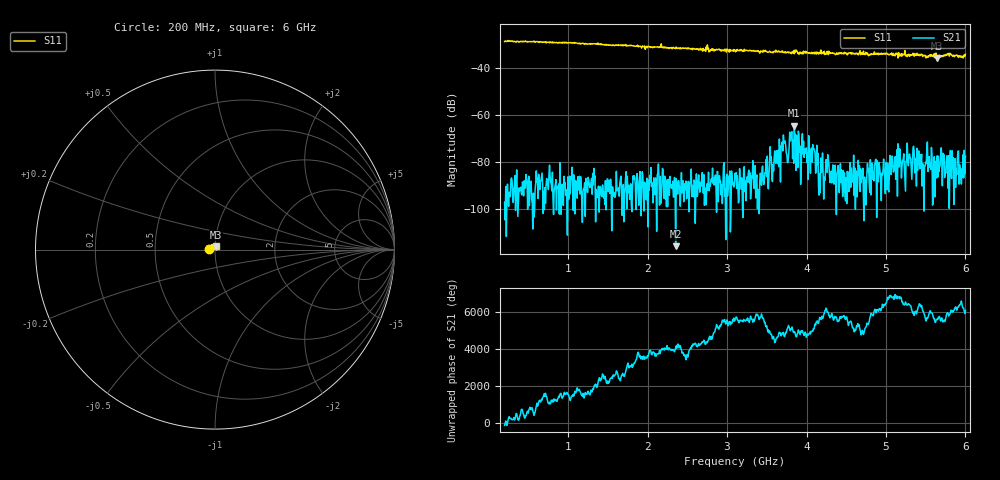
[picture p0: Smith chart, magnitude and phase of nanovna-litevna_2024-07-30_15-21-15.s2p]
! NanoVNA-App by OneOfEleven et al v1.1.209 (+OD15)
! Date: 2024-07-30 15:21:18
! Start: 200MHz Stop: 6GHz Points: 801
! S-Parameter data: F S11 S21 S12 S22
# Hz S RI R 50
!  Frequency  S11_Real  S11_Imag  S21_Real  S21_Imag  S12_Real  S12_Imag  S22_Real  S22_Imag
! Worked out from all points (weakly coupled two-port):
!   801 points, 200 MHz to 6 GHz, reference 50 ohm
!   highest |S21| = -64.59 dB at 3.847 GHz (marker M1); lowest = -115.9 dB at 2.353 GHz (marker M2)
!   lowest |S11| = -35.9 dB at 5.645 GHz (marker M3), VSWR 1.03, Z = 50.7 + j1.47 ohm
!   |S11| at or under -10 dB: start of sweep to end of sweep
!   S12 and S22 are empty: the file has one direction only
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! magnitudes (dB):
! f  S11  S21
! 200 MHz  -28.8  -97.2
! 1.171 GHz  -29.6  -97.2
! 2.136 GHz  -31.1  -80.9
! 2.353 GHz  -31.7  -115.9
! 3.1 GHz  -32.8  -84.9
! 3.586 GHz  -33.2  -83.8
! 3.709 GHz  -33.4  -68.6
! 3.752 GHz  -33.4  -76.9
! 3.818 GHz  -33.2  -67.2
! 3.847 GHz  -34.0  -64.6
! 3.876 GHz  -32.8  -71.4
! 3.897 GHz  -34.1  -66.9
! 4.072 GHz  -33.6  -80.1
! 4.166 GHz  -33.7  -85.1
! 4.311 GHz  -33.7  -84.0
! 5.036 GHz  -34.5  -92.8
! 5.144 GHz  -33.9  -94.6
! 5.217 GHz  -34.4  -79.1
! 5.362 GHz  -33.9  -84.7
! 5.645 GHz  -35.9  -77.5
! 5.949 GHz  -35.3  -89.5
! 6 GHz  -34.2  -77.5
